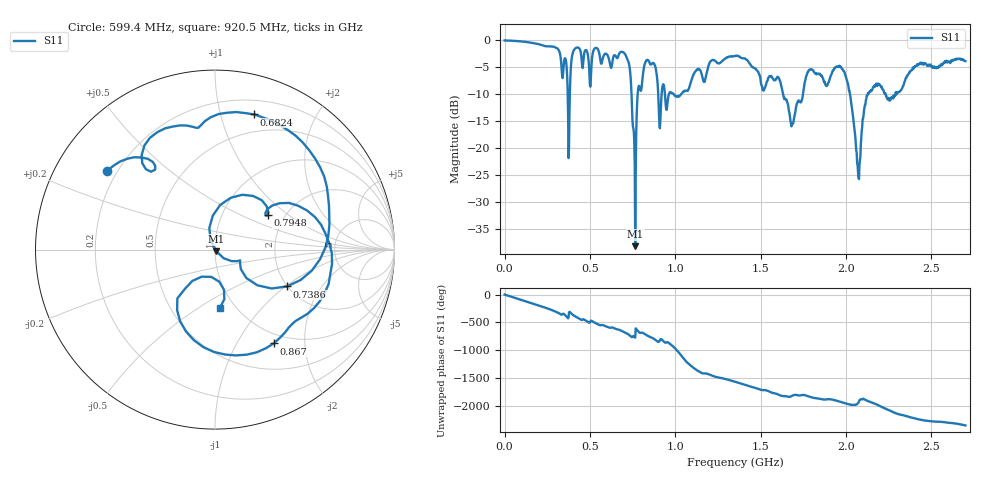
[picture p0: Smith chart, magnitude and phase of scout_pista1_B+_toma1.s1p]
! scout_pista1_B+_toma1 (sin descontar el latiguillo)
! 2026-10-30T16:24:12
# HZ S RI R 50
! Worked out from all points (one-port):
!   1010 points, 50 kHz to 2.7 GHz, reference 50 ohm
!   lowest |S11| = -38.2 dB at 765.3 MHz (marker M1), VSWR 1.02, Z = 50.8 - j0.974 ohm
!   |S11| at or under -10 dB: 1.631 GHz to 1.748 GHz (116.8 MHz wide, 6.91 % of centre); 2.024 GHz to 2.128 GHz (104.2 MHz wide, 5.02 % of centre); 2.233 GHz to 2.289 GHz (56.56 MHz wide, 2.5 % of centre)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
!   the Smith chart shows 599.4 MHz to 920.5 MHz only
!   S11 on the Smith chart (normalised r, x): 599.4 MHz: 0.16, +0.32; 682.4 MHz: 0.33, +1.28; 738.6 MHz: 1.98, -1.02; 794.8 MHz: 1.64, +0.71; 867 MHz: 0.85, -1.44; 920.5 MHz: 0.85, -0.62
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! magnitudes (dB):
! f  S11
! 50 kHz  0.0
! 339.9 MHz  -7.0
! 377.3 MHz  -19.8
! 414.8 MHz  -1.5
! 500.4 MHz  -8.5
! 599.4 MHz  -2.6
! 677 MHz  -2.2
! 682.4 MHz  -2.1
! 738.6 MHz  -6.9
! 754.6 MHz  -16.3
! 765.3 MHz  -38.2
! 794.8 MHz  -9.1
! 867 MHz  -4.2
! 920.5 MHz  -9.8
! 1.014 GHz  -10.5
! 1.351 GHz  -2.9
! 1.517 GHz  -9.1
! 1.606 GHz  -6.9
! 1.689 GHz  -15.5
! 1.79 GHz  -5.4
! 1.887 GHz  -8.5
! 1.967 GHz  -4.9
! 2.026 GHz  -10.3
! 2.074 GHz  -25.5
! 2.133 GHz  -9.9
! 2.269 GHz  -10.6
! 2.363 GHz  -6.4
! 2.7 GHz  -3.8
